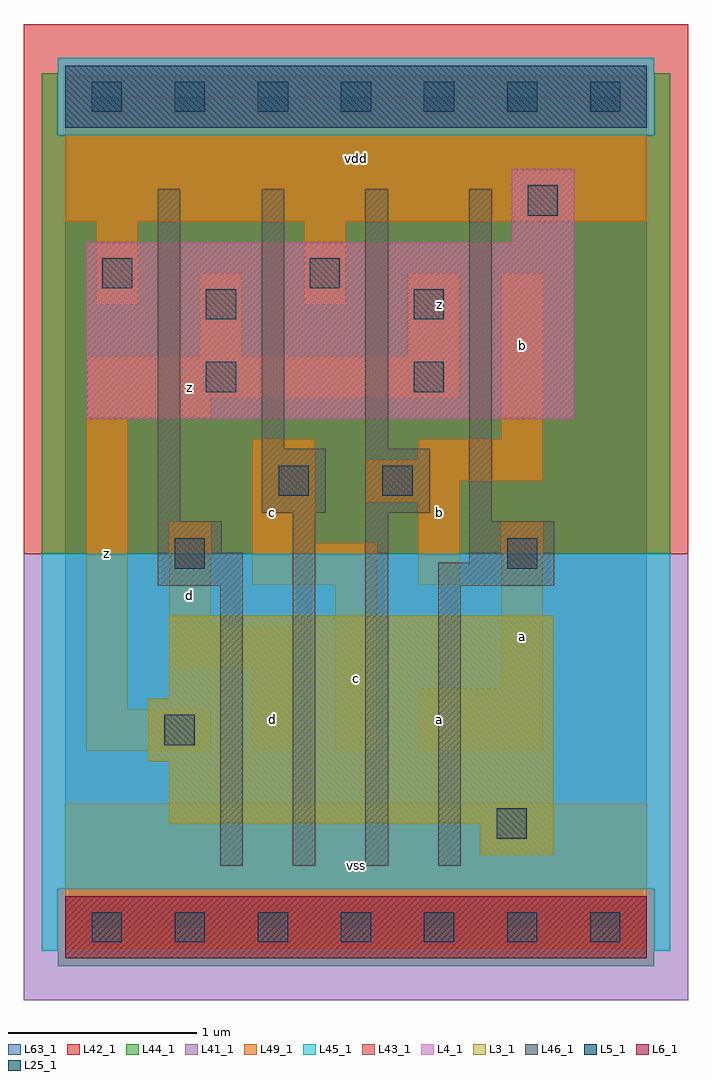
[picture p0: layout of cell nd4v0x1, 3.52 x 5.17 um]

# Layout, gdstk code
import gdstk
lib = gdstk.Library(unit=1e-6, precision=1e-09)
def R(c, l, rs):  # rectangles x0, y0, x1, y1
    for r in rs: c.add(gdstk.rectangle(r[:2], r[2:], *l))
def A(c, l, x, y, w, h, nx, ny, dx, dy):  # array of equal rectangles
    R(c, l, [(x+i*dx, y+j*dy, x+i*dx+w, y+j*dy+h) for i in range(nx) for j in range(ny)])
L3_1 = (3, 1)
L4_1 = (4, 1)
L5_1 = (5, 1)
L6_1 = (6, 1)
L25_1 = (25, 1)
L41_1 = (41, 1)
L42_1 = (42, 1)
L43_1 = (43, 1)
L44_1 = (44, 1)
L45_1 = (45, 1)
L46_1 = (46, 1)
L49_1 = (49, 1)
L63_1 = (63, 1)

nd4v0x1 = lib.new_cell('nd4v0x1')
R(nd4v0x1, L3_1, [(2.2,0.385,2.585,0.55), (0.55,0.55,2.585,0.88), (0.44,0.88,2.585,1.21), (0.55,1.21,2.585,1.65)])
R(nd4v0x1, L4_1, [(0.11,2.695,2.695,3.63), (2.365,3.63,2.695,4.015)])
R(nd4v0x1, L5_1, [(0,4.235,3.08,4.565)])
R(nd4v0x1, L6_1, [(0,-0.165,3.08,0.165)])
A(nd4v0x1, L25_1, 0.14, -0.08, 0.16, 0.16, 7, 2, 0.44, 4.4)
R(nd4v0x1, L25_1, [(2.285,0.47,2.445,0.63), (0.525,0.965,0.685,1.125), (0.58,1.9,0.74,2.06), (2.34,1.9,2.5,2.06), (1.13,2.285,1.29,2.445), (1.68,2.285,1.84,2.445), (0.745,2.835,0.905,2.995), (1.845,2.835,2.005,2.995), (0.745,3.22,0.905,3.38), (1.845,3.22,2.005,3.38), (0.195,3.385,0.355,3.545), (1.295,3.385,1.455,3.545), (2.45,3.77,2.61,3.93)])
R(nd4v0x1, L41_1, [(-0.22,-0.385,3.3,1.98)])
R(nd4v0x1, L42_1, [(-0.22,1.98,3.3,4.785)])
R(nd4v0x1, L43_1, [(0,-0.165,3.08,0.165), (2.2,0.385,2.585,0.55), (0.55,0.55,2.585,0.88), (0.44,0.88,2.585,1.21), (0.55,1.21,2.585,1.65), (0.11,2.695,2.695,3.63), (2.365,3.63,2.695,4.015), (0,4.235,3.08,4.565)])
R(nd4v0x1, L44_1, [(-0.04,-0.205,3.12,0.205), (-0.125,1.98,3.205,4.195), (-0.125,4.195,-0.04,4.525), (3.12,4.195,3.205,4.525)])
R(nd4v0x1, L45_1, [(-0.125,-0.125,-0.04,0.205), (3.12,-0.125,3.205,0.205), (-0.125,0.205,3.205,1.98), (-0.04,4.195,3.12,4.605)])
R(nd4v0x1, L46_1, [(0.82,0.325,0.94,1.81), (1.205,0.325,1.325,2.195), (1.59,0.325,1.71,2.195), (1.975,0.325,2.095,1.81), (0.49,1.81,0.94,1.985), (1.975,1.81,2.59,1.93), (2.14,1.93,2.59,2.15), (0.49,1.985,0.83,2.15), (0.49,2.15,0.61,3.91), (2.14,2.15,2.26,3.91), (1.04,2.195,1.38,2.535), (1.59,2.195,1.93,2.535), (1.04,2.535,1.16,3.91), (1.59,2.535,1.71,3.91)])
R(nd4v0x1, L49_1, [(0,-0.11,3.08,0.66), (0.11,0.935,0.77,1.155), (0.99,0.935,1.21,1.375), (1.43,0.935,1.65,1.815), (1.87,0.935,2.53,1.265), (0.11,1.155,0.33,2.695), (2.31,1.265,2.53,2.145), (0.55,1.375,1.21,1.595), (0.55,1.595,0.77,2.145), (0.99,1.815,1.65,2.035), (1.87,1.815,2.09,2.255), (0.99,2.035,1.32,2.585), (1.595,2.255,2.09,2.365), (1.595,2.365,2.53,2.475), (1.87,2.475,2.53,2.585), (2.31,2.585,2.53,3.465), (0.11,2.695,0.77,2.805), (0.11,2.805,2.09,3.025), (0.715,3.025,0.935,3.465), (1.815,3.025,2.09,3.465), (0.165,3.3,0.385,3.74), (1.265,3.3,1.485,3.74), (0,3.74,3.08,4.51)])
R(nd4v0x1, L63_1, [(0,0,3.08,4.4)])
nd4v0x1.add(gdstk.Label('z', (0.22,1.98), layer=49, texttype=1))
nd4v0x1.add(gdstk.Label('d', (0.66,1.76), layer=49, texttype=1))
nd4v0x1.add(gdstk.Label('z', (0.66,2.86), layer=49, texttype=1))
nd4v0x1.add(gdstk.Label('vss', (1.54,0.33), layer=49, texttype=1))
nd4v0x1.add(gdstk.Label('d', (1.1,1.1), layer=49, texttype=1))
nd4v0x1.add(gdstk.Label('c', (1.54,1.32), layer=49, texttype=1))
nd4v0x1.add(gdstk.Label('c', (1.1,2.2), layer=49, texttype=1))
nd4v0x1.add(gdstk.Label('vdd', (1.54,4.07), layer=49, texttype=1))
nd4v0x1.add(gdstk.Label('a', (1.98,1.1), layer=49, texttype=1))
nd4v0x1.add(gdstk.Label('a', (2.42,1.54), layer=49, texttype=1))
nd4v0x1.add(gdstk.Label('b', (1.98,2.2), layer=49, texttype=1))
nd4v0x1.add(gdstk.Label('z', (1.98,3.3), layer=49, texttype=1))
nd4v0x1.add(gdstk.Label('b', (2.42,3.08), layer=49, texttype=1))

lib.write_gds('nd4v0x1.gds')
